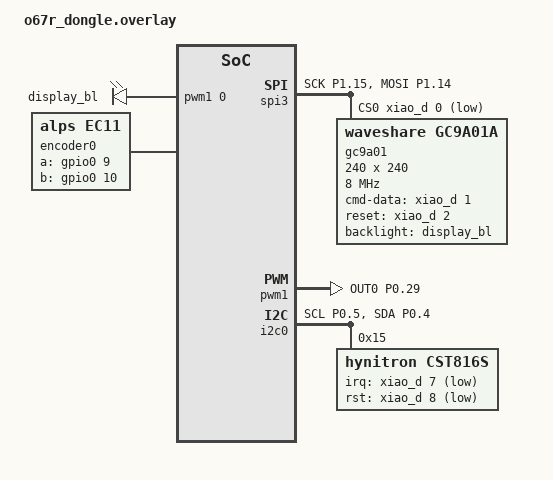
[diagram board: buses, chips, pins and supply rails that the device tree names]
#include <zephyr/dt-bindings/display/gc9a01a.h>
#include <dt-bindings/pinctrl/nrf-pinctrl.h>
#include "o67r.dtsi"

/ {
    chosen {
        zephyr,display = &gc9a01;
    };

    pwmleds {
        compatible = "pwm-leds";
        display_bl: display-bl {
            pwms = <&pwm1 0 PWM_MSEC(1) PWM_POLARITY_NORMAL>;
        };
    };
};

&kscan {
    compatible = "zmk,kscan-gpio-direct";
    //wakeup-source;
    input-gpios
        = <&gpio1 11 (GPIO_PULL_UP | GPIO_ACTIVE_LOW)> // unlock
        ;
};

&spi2 {
    status = "disabled";
};

&pinctrl {
    spi3_default: spi3_default {
        group1 {
            psels = <NRF_PSEL(SPIM_SCK, 1, 15)>,
                <NRF_PSEL(SPIM_MOSI, 1, 14)>;
        };
    };

    spi3_sleep: spi3_sleep {
        group1 {
            psels = <NRF_PSEL(SPIM_SCK, 1, 15)>,
                <NRF_PSEL(SPIM_MOSI, 1, 14)>;
            low-power-enable;
        };
    };

    pwm1_default: pwm1_default {
        group1 {
            psels = <NRF_PSEL(PWM_OUT0, 0, 29)>;
            nordic,invert;
        };
    };

    pwm1_sleep: pwm1_sleep {
        group1 {
            psels = <NRF_PSEL(PWM_OUT0, 0, 29)>;
            low-power-enable;
        };
    };

    o67r_i2c0_default: o67r_i2c0_default {
        group1 {
            psels = <NRF_PSEL(TWIM_SCL, 0, 5)>,
                <NRF_PSEL(TWIM_SDA, 0, 4)>;
        };
    };

    o67r_i2c0_sleep: o67r_i2c0_sleep {
        group1 {
            psels = <NRF_PSEL(TWIM_SCL, 0, 5)>,
                <NRF_PSEL(TWIM_SDA, 0, 4)>;
            low-power-enable;
        };
    };
};

disp_spi: &spi3 {
    compatible = "nordic,nrf-spim";
    status = "okay";
    pinctrl-0 = <&spi3_default>;
    pinctrl-1 = <&spi3_sleep>;
    pinctrl-names = "default", "sleep";
    cs-gpios = <&xiao_d 0 GPIO_ACTIVE_LOW>;

    gc9a01: gc9a01@0 {
        compatible = "waveshare,gc9a01a";
        status = "okay";
        reg = <0>;
        spi-max-frequency = <8000000>;
        cmd-data-gpios = <&xiao_d 1 GPIO_ACTIVE_HIGH>;
        reset-gpios = <&xiao_d 2 GPIO_ACTIVE_HIGH>;
        backlight-gpios = <&display_bl>;
        width = <240>;
        height = <240>;
        pixel-format = <GC9A01A_PIXEL_FORMAT_RGB565>;
        display-inversion;
        rotation = <0>;
    };
};

&pwm1 {
    status = "okay";
    pinctrl-0 = <&pwm1_default>;
    pinctrl-1 = <&pwm1_sleep>;
    pinctrl-names = "default", "sleep";
};

&i2c0 {
    compatible = "nordic,nrf-twim";
    status = "okay";
    pinctrl-0 = <&o67r_i2c0_default>;
    pinctrl-1 = <&o67r_i2c0_sleep>;
    pinctrl-names = "default", "sleep";

    cst816s: cst816s@15 {
        compatible = "hynitron,cst816s";
        status = "okay";
        reg = <0x15>;
        irq-gpios = <&xiao_d 7 (GPIO_PULL_UP | GPIO_ACTIVE_LOW)>;
        rst-gpios = <&xiao_d 8 GPIO_ACTIVE_LOW>;
    };
};

/ {
    encoder0: encoder0 {
        compatible = "alps,ec11";
        a-gpios = <&gpio0  9 (GPIO_ACTIVE_HIGH | GPIO_PULL_UP)>;
        b-gpios = <&gpio0 10 (GPIO_ACTIVE_HIGH | GPIO_PULL_UP)>;
        steps = <15>;// 15 or 30
        status = "okay";
    };

    sensors: sensors {
        compatible = "zmk,keymap-sensors";
        sensors = <&encoder0>;
        triggers-per-rotation = <20>;
    };

    touch_listener: touch_listener {
        compatible = "zmk,input-listener";
        status = "okay";
        device = <&cst816s>;
    };
};
